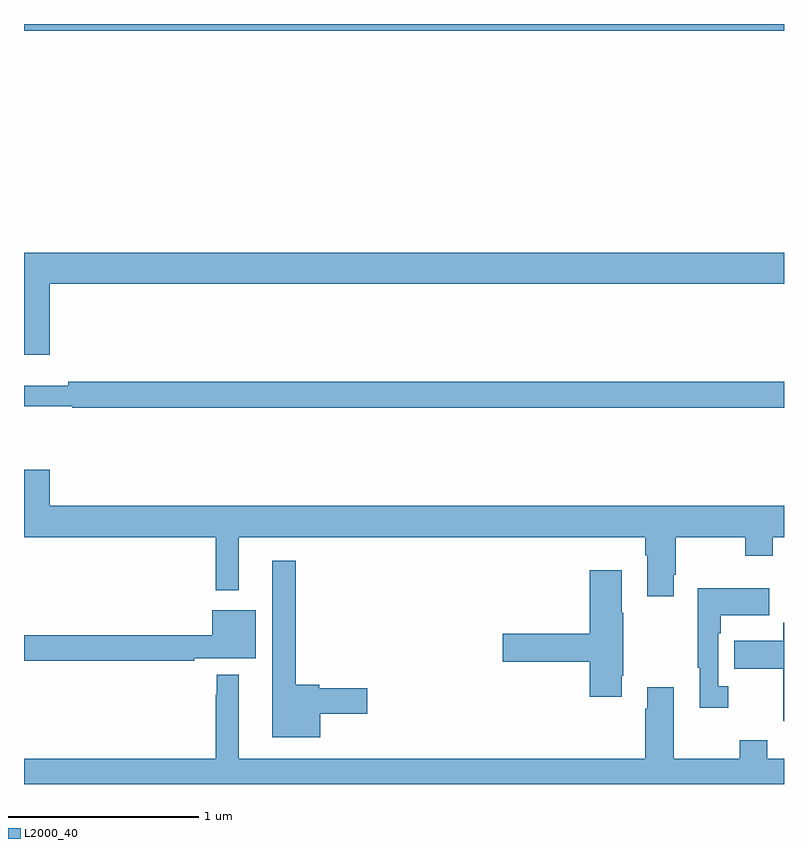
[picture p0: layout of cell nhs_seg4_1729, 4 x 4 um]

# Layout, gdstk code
import gdstk
lib = gdstk.Library(unit=1e-6, precision=1e-09)
def R(c, l, rs):  # rectangles x0, y0, x1, y1
    for r in rs: c.add(gdstk.rectangle(r[:2], r[2:], *l))
def P(c, l, *ps):  # polygons
    for p in ps: c.add(gdstk.Polygon(p, *l))
L2000_40 = (2000, 40)

nhs_seg4_1729 = lib.new_cell('nhs_seg4_1729')
R(nhs_seg4_1729, L2000_40, [(201,752.864,205,752.9)])
P(nhs_seg4_1729, L2000_40, [(201.136,751.532),(205,751.532),(205,751.696),(201,751.696),(201,751.158),(201.136,751.158)],
  [(205,751.016),(201.232,751.016),(201.232,750.997),(201,750.997),(201,750.888),(201.255,750.888),(201.255,750.88),(205,750.88)],
  [(204.421,750.001),(204.429,750.001),(204.429,750.2),(204.796,750.2),(204.796,750.101),(204.942,750.101),(204.942,750.2),(205,750.2),(205,750.364),(201.136,750.364),(201.136,750.553),(201,750.553),(201,750.2),(202.008,750.2),(202.008,749.919),(202.129,749.919),(202.129,750.2),(204.269,750.2),(204.269,750.104),(204.281,750.104),(204.281,749.889),(204.421,749.889)],
  [(202.558,749.27),(202.807,749.27),(202.807,749.405),(202.554,749.405),(202.554,749.423),(202.429,749.423),(202.429,750.076),(202.307,750.076),(202.307,749.147),(202.558,749.147)],
  [(204.145,749.47),(204.153,749.47),(204.153,749.801),(204.145,749.801),(204.145,750.025),(203.978,750.025),(203.978,749.69),(203.52,749.69),(203.52,749.543),(203.978,749.543),(203.978,749.358),(204.145,749.358)],
  [(204.706,749.414),(204.654,749.414),(204.654,749.693),(204.667,749.693),(204.667,749.789),(204.923,749.789),(204.923,749.929),(204.546,749.929),(204.546,749.513),(204.557,749.513),(204.557,749.301),(204.706,749.301)],
  [(201.896,749.561),(202.219,749.561),(202.219,749.815),(201.992,749.815),(201.992,749.684),(201,749.684),(201,749.548),(201.896,749.548)],
  [(205,749.749),(204.996,749.749),(204.996,749.653),(204.739,749.653),(204.739,749.506),(204.996,749.506),(204.996,749.233),(205,749.229)],
  [(205,749.032),(204.913,749.032),(204.913,749.131),(204.766,749.131),(204.766,749.032),(204.421,749.032),(204.421,749.41),(204.281,749.41),(204.281,749.297),(204.269,749.297),(204.269,749.032),(202.129,749.032),(202.129,749.476),(202.014,749.476),(202.014,749.369),(202.008,749.369),(202.008,749.032),(201,749.032),(201,748.9),(205,748.9)])

lib.write_gds('nhs_seg4_1729.gds')
